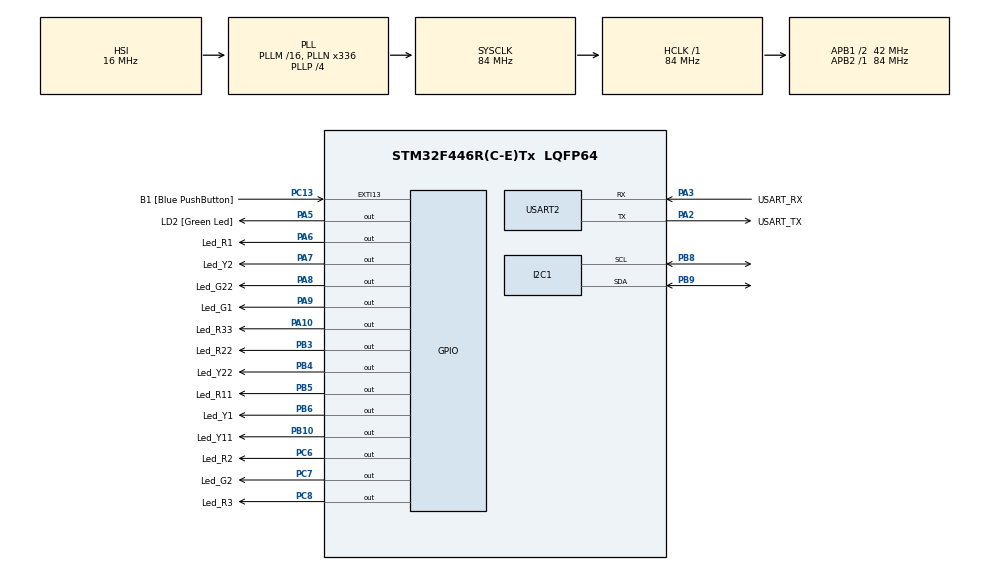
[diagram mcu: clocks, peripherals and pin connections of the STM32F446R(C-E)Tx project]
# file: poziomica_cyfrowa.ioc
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I2C1.I2C_Mode=I2C_Fast
Mcu.Family=STM32F4
Mcu.Name=STM32F446R(C-E)Tx
Mcu.Package=LQFP64
NVIC.PriorityGroup=NVIC_PRIORITYGROUP_0
PA10.GPIO_Label=Led_R33
PA10.Signal=GPIO_Output
PA13.GPIO_Label=TMS
PA13.Mode=Serial_Wire
PA13.Signal=SYS_JTMS-SWDIO
PA14.GPIO_Label=TCK
PA14.Mode=Serial_Wire
PA14.Signal=SYS_JTCK-SWCLK
PA2.GPIO_Label=USART_TX
PA2.Mode=Asynchronous
PA2.Signal=USART2_TX
PA3.GPIO_Label=USART_RX
PA3.Mode=Asynchronous
PA3.Signal=USART2_RX
PA5.GPIO_Label=LD2 [Green Led]
PA5.PinState=GPIO_PIN_RESET
PA5.Signal=GPIO_Output
PA6.GPIO_Label=Led_R1
PA6.PinState=GPIO_PIN_RESET
PA6.Signal=GPIO_Output
PA7.GPIO_Label=Led_Y2
PA7.PinState=GPIO_PIN_RESET
PA7.Signal=GPIO_Output
PA8.GPIO_Label=Led_G22
PA8.Signal=GPIO_Output
PA9.GPIO_Label=Led_G1
PA9.Signal=GPIO_Output
PB10.GPIO_Label=Led_Y11
PB10.Signal=GPIO_Output
PB3.GPIO_Label=Led_R22
PB3.Signal=GPIO_Output
PB4.GPIO_Label=Led_Y22
PB4.Signal=GPIO_Output
PB5.GPIO_Label=Led_R11
PB5.Signal=GPIO_Output
PB6.GPIO_Label=Led_Y1
PB6.Signal=GPIO_Output
PB8.Mode=I2C
PB8.Signal=I2C1_SCL
PB9.Mode=I2C
PB9.Signal=I2C1_SDA
PC13.GPIO_Label=B1 [Blue PushButton]
PC13.GPIO_ModeDefaultEXTI=GPIO_MODE_IT_FALLING
PC13.Signal=GPXTI13
PC14-OSC32_IN.Mode=LSE-External-Oscillator
PC14-OSC32_IN.Signal=RCC_OSC32_IN
PC15-OSC32_OUT.Mode=LSE-External-Oscillator
PC15-OSC32_OUT.Signal=RCC_OSC32_OUT
PC6.GPIO_Label=Led_R2
PC6.Signal=GPIO_Output
PC7.GPIO_Label=Led_G2
PC7.Signal=GPIO_Output
PC8.GPIO_Label=Led_R3
PC8.Signal=GPIO_Output
PH0-OSC_IN.Mode=HSE-External-Oscillator
PH0-OSC_IN.Signal=RCC_OSC_IN
PH1-OSC_OUT.Mode=HSE-External-Oscillator
PH1-OSC_OUT.Signal=RCC_OSC_OUT
ProjectManager.HeapSize=0x200
ProjectManager.StackSize=0x400
ProjectManager.TargetToolchain=STM32CubeIDE
RCC.48MHZClocksFreq_Value=84000000
RCC.AHBFreq_Value=84000000
RCC.APB1CLKDivider=RCC_HCLK_DIV2
RCC.APB1Freq_Value=42000000
RCC.APB1TimFreq_Value=84000000
RCC.APB2Freq_Value=84000000
RCC.APB2TimFreq_Value=84000000
RCC.CortexFreq_Value=84000000
RCC.FLatency-AdvancedSettings=FLASH_LATENCY_2
RCC.HCLKFreq_Value=84000000
RCC.HSE_VALUE=8000000
RCC.HSI_VALUE=16000000
RCC.PLLN=336
RCC.PLLP=RCC_PLLP_DIV4
RCC.SYSCLKFreq_VALUE=84000000
RCC.SYSCLKSource=RCC_SYSCLKSOURCE_PLLCLK
RCC.USBFreq_Value=168000000
RCC.VCOOutputFreq_Value=336000000
USART2.VirtualMode=VM_ASYNC
board=NUCLEO-F446RE

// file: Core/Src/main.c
/* USER CODE BEGIN Header */
/**
  ******************************************************************************
  * @file           : main.c
  * @brief          : Main program body
  ******************************************************************************
  ******************************************************************************
  */
/* USER CODE END Header */
#include "main.h"
#include "i2c.h"
#include "usart.h"
#include "gpio.h"

/* USER CODE BEGIN Includes */
#include <stdio.h>
#include <string.h>
#include <math.h>

#define adxl_address 0x53<<1
/* USER CODE END Includes */

/* USER CODE BEGIN PV */
uint8_t data_rec[6];
uint8_t chipid=0;
int16_t x,y,z;
float xg, yg, zg;
float mediana = 0;
char tx[120];
/* USER CODE END PV */

void SystemClock_Config(void);

/* USER CODE BEGIN 0 */
void adxl_write (uint8_t reg, uint8_t value)
{
	uint8_t data[2];
	data[0] = reg;
	data[1] = value;
	HAL_I2C_Master_Transmit (&hi2c1, adxl_address, data, 2, 100);
}

void adxl_read_values (uint8_t reg)
{
	HAL_I2C_Mem_Read (&hi2c1, adxl_address, reg, 1, (uint8_t *)data_rec, 6, 100);
}

void adxl_read_address (uint8_t reg)
{
	HAL_I2C_Mem_Read (&hi2c1, adxl_address, reg, 1, &chipid, 1, 100);
}

void adxl_init (void)
{
	adxl_read_address (0x00); // read the DEV ID
	HAL_Delay(50);
	adxl_write (0x31, 0x01);  // data_format range= +- 4g
	HAL_Delay(50);
	adxl_write (0x2d, 0x00);  // reset all bits
	HAL_Delay(50);
	adxl_write (0x2d, 0x08);  // power_cntl measure and wake up 8hz
	HAL_Delay(50);
}

void tx_send(char *tx, uint16_t len)
{
	HAL_UART_Transmit(&huart2, (const uint8_t *) tx, len, 1000);
}

void led_check(void)
{
	HAL_GPIO_WritePin(Led_G1_GPIO_Port, Led_G1_Pin, GPIO_PIN_SET);
	HAL_Delay(400);
	HAL_GPIO_WritePin(Led_G2_GPIO_Port, Led_G2_Pin, GPIO_PIN_SET);
	HAL_GPIO_WritePin(Led_G22_GPIO_Port, Led_G22_Pin, GPIO_PIN_SET);
	HAL_Delay(400);
	HAL_GPIO_WritePin(Led_Y1_GPIO_Port, Led_Y1_Pin, GPIO_PIN_SET);
	HAL_GPIO_WritePin(Led_Y11_GPIO_Port, Led_Y11_Pin, GPIO_PIN_SET);
	HAL_Delay(400);
	HAL_GPIO_WritePin(Led_Y2_GPIO_Port, Led_Y2_Pin, GPIO_PIN_SET);
	HAL_GPIO_WritePin(Led_Y22_GPIO_Port, Led_Y22_Pin, GPIO_PIN_SET);
	HAL_Delay(400);
	HAL_GPIO_WritePin(Led_R1_GPIO_Port, Led_R1_Pin, GPIO_PIN_SET);
	HAL_GPIO_WritePin(Led_R11_GPIO_Port, Led_R11_Pin, GPIO_PIN_SET);
	HAL_Delay(400);
	HAL_GPIO_WritePin(Led_R2_GPIO_Port, Led_R2_Pin, GPIO_PIN_SET);
	HAL_GPIO_WritePin(Led_R22_GPIO_Port, Led_R22_Pin, GPIO_PIN_SET);
	HAL_Delay(400);
	HAL_GPIO_WritePin(Led_R3_GPIO_Port, Led_R3_Pin, GPIO_PIN_SET);
	HAL_GPIO_WritePin(Led_R33_GPIO_Port, Led_R33_Pin, GPIO_PIN_SET);

	HAL_Delay(400);
	HAL_GPIO_WritePin(Led_G1_GPIO_Port, Led_G1_Pin, GPIO_PIN_RESET);
	HAL_GPIO_WritePin(Led_G2_GPIO_Port, Led_G2_Pin, GPIO_PIN_RESET);
	HAL_GPIO_WritePin(Led_G22_GPIO_Port, Led_G22_Pin, GPIO_PIN_RESET);
	HAL_GPIO_WritePin(Led_Y1_GPIO_Port, Led_Y1_Pin, GPIO_PIN_RESET);
	HAL_GPIO_WritePin(Led_Y11_GPIO_Port, Led_Y11_Pin, GPIO_PIN_RESET);
	HAL_GPIO_WritePin(Led_Y2_GPIO_Port, Led_Y2_Pin, GPIO_PIN_RESET);
	HAL_GPIO_WritePin(Led_Y22_GPIO_Port, Led_Y22_Pin, GPIO_PIN_RESET);
	HAL_GPIO_WritePin(Led_R1_GPIO_Port, Led_R1_Pin, GPIO_PIN_RESET);
	HAL_GPIO_WritePin(Led_R11_GPIO_Port, Led_R11_Pin, GPIO_PIN_RESET);
	HAL_GPIO_WritePin(Led_R2_GPIO_Port, Led_R2_Pin, GPIO_PIN_RESET);
	HAL_GPIO_WritePin(Led_R22_GPIO_Port, Led_R22_Pin, GPIO_PIN_RESET);
	HAL_GPIO_WritePin(Led_R3_GPIO_Port, Led_R3_Pin, GPIO_PIN_RESET);
	HAL_GPIO_WritePin(Led_R33_GPIO_Port, Led_R33_Pin, GPIO_PIN_RESET);

	HAL_Delay(400);
	HAL_GPIO_WritePin(Led_G1_GPIO_Port, Led_G1_Pin, GPIO_PIN_SET);
	HAL_GPIO_WritePin(Led_G2_GPIO_Port, Led_G2_Pin, GPIO_PIN_SET);
	HAL_GPIO_WritePin(Led_G22_GPIO_Port, Led_G22_Pin, GPIO_PIN_SET);
	HAL_GPIO_WritePin(Led_Y1_GPIO_Port, Led_Y1_Pin, GPIO_PIN_SET);
	HAL_GPIO_WritePin(Led_Y11_GPIO_Port, Led_Y11_Pin, GPIO_PIN_SET);
	HAL_GPIO_WritePin(Led_Y2_GPIO_Port, Led_Y2_Pin, GPIO_PIN_SET);
	HAL_GPIO_WritePin(Led_Y22_GPIO_Port, Led_Y22_Pin, GPIO_PIN_SET);
	HAL_GPIO_WritePin(Led_R1_GPIO_Port, Led_R1_Pin, GPIO_PIN_SET);
	HAL_GPIO_WritePin(Led_R11_GPIO_Port, Led_R11_Pin, GPIO_PIN_SET);
	HAL_GPIO_WritePin(Led_R2_GPIO_Port, Led_R2_Pin, GPIO_PIN_SET);
	HAL_GPIO_WritePin(Led_R22_GPIO_Port, Led_R22_Pin, GPIO_PIN_SET);
	HAL_GPIO_WritePin(Led_R3_GPIO_Port, Led_R3_Pin, GPIO_PIN_SET);
	HAL_GPIO_WritePin(Led_R33_GPIO_Port, Led_R33_Pin, GPIO_PIN_SET);

	HAL_Delay(400);
	HAL_GPIO_WritePin(Led_G1_GPIO_Port, Led_G1_Pin, GPIO_PIN_RESET);
	HAL_GPIO_WritePin(Led_G2_GPIO_Port, Led_G2_Pin, GPIO_PIN_RESET);
	HAL_GPIO_WritePin(Led_G22_GPIO_Port, Led_G22_Pin, GPIO_PIN_RESET);
	HAL_GPIO_WritePin(Led_Y1_GPIO_Port, Led_Y1_Pin, GPIO_PIN_RESET);
	HAL_GPIO_WritePin(Led_Y11_GPIO_Port, Led_Y11_Pin, GPIO_PIN_RESET);
	HAL_GPIO_WritePin(Led_Y2_GPIO_Port, Led_Y2_Pin, GPIO_PIN_RESET);
	HAL_GPIO_WritePin(Led_Y22_GPIO_Port, Led_Y22_Pin, GPIO_PIN_RESET);
	HAL_GPIO_WritePin(Led_R1_GPIO_Port, Led_R1_Pin, GPIO_PIN_RESET);
	HAL_GPIO_WritePin(Led_R11_GPIO_Port, Led_R11_Pin, GPIO_PIN_RESET);
	HAL_GPIO_WritePin(Led_R2_GPIO_Port, Led_R2_Pin, GPIO_PIN_RESET);
	HAL_GPIO_WritePin(Led_R22_GPIO_Port, Led_R22_Pin, GPIO_PIN_RESET);
	HAL_GPIO_WritePin(Led_R3_GPIO_Port, Led_R3_Pin, GPIO_PIN_RESET);
	HAL_GPIO_WritePin(Led_R33_GPIO_Port, Led_R33_Pin, GPIO_PIN_RESET);

	HAL_Delay(200);
	HAL_GPIO_WritePin(Led_G1_GPIO_Port, Led_G1_Pin, GPIO_PIN_SET);
}

void led(float x)
{
	x = fabs(x);
	if (x <= 10)
	{
		HAL_GPIO_WritePin(Led_G1_GPIO_Port, Led_G1_Pin, GPIO_PIN_SET);

		HAL_GPIO_WritePin(Led_G2_GPIO_Port, Led_G2_Pin, GPIO_PIN_RESET);
		HAL_GPIO_WritePin(Led_G22_GPIO_Port, Led_G22_Pin, GPIO_PIN_RESET);
		HAL_GPIO_WritePin(Led_Y1_GPIO_Port, Led_Y1_Pin, GPIO_PIN_RESET);
		HAL_GPIO_WritePin(Led_Y11_GPIO_Port, Led_Y11_Pin, GPIO_PIN_RESET);
		HAL_GPIO_WritePin(Led_Y2_GPIO_Port, Led_Y2_Pin, GPIO_PIN_RESET);
		HAL_GPIO_WritePin(Led_Y22_GPIO_Port, Led_Y22_Pin, GPIO_PIN_RESET);
		HAL_GPIO_WritePin(Led_R1_GPIO_Port, Led_R1_Pin, GPIO_PIN_RESET);
		HAL_GPIO_WritePin(Led_R11_GPIO_Port, Led_R11_Pin, GPIO_PIN_RESET);
		HAL_GPIO_WritePin(Led_R2_GPIO_Port, Led_R2_Pin, GPIO_PIN_RESET);
		HAL_GPIO_WritePin(Led_R22_GPIO_Port, Led_R22_Pin, GPIO_PIN_RESET);
		HAL_GPIO_WritePin(Led_R3_GPIO_Port, Led_R3_Pin, GPIO_PIN_RESET);
		HAL_GPIO_WritePin(Led_R33_GPIO_Port, Led_R33_Pin, GPIO_PIN_RESET);
	}
	else if (x <= 40)
	{
		HAL_GPIO_WritePin(Led_G1_GPIO_Port, Led_G1_Pin, GPIO_PIN_SET);
		HAL_GPIO_WritePin(Led_G2_GPIO_Port, Led_G2_Pin, GPIO_PIN_SET);
		HAL_GPIO_WritePin(Led_G22_GPIO_Port, Led_G22_Pin, GPIO_PIN_SET);

		HAL_GPIO_WritePin(Led_Y1_GPIO_Port, Led_Y1_Pin, GPIO_PIN_RESET);
		HAL_GPIO_WritePin(Led_Y11_GPIO_Port, Led_Y11_Pin, GPIO_PIN_RESET);
		HAL_GPIO_WritePin(Led_Y2_GPIO_Port, Led_Y2_Pin, GPIO_PIN_RESET);
		HAL_GPIO_WritePin(Led_Y22_GPIO_Port, Led_Y22_Pin, GPIO_PIN_RESET);
		HAL_GPIO_WritePin(Led_R1_GPIO_Port, Led_R1_Pin, GPIO_PIN_RESET);
		HAL_GPIO_WritePin(Led_R11_GPIO_Port, Led_R11_Pin, GPIO_PIN_RESET);
		HAL_GPIO_WritePin(Led_R2_GPIO_Port, Led_R2_Pin, GPIO_PIN_RESET);
		HAL_GPIO_WritePin(Led_R22_GPIO_Port, Led_R22_Pin, GPIO_PIN_RESET);
		HAL_GPIO_WritePin(Led_R3_GPIO_Port, Led_R3_Pin, GPIO_PIN_RESET);
		HAL_GPIO_WritePin(Led_R33_GPIO_Port, Led_R33_Pin, GPIO_PIN_RESET);
	}
	else if (x <= 80)
	{
		HAL_GPIO_WritePin(Led_G1_GPIO_Port, Led_G1_Pin, GPIO_PIN_SET);
		HAL_GPIO_WritePin(Led_G2_GPIO_Port, Led_G2_Pin, GPIO_PIN_SET);
		HAL_GPIO_WritePin(Led_G22_GPIO_Port, Led_G22_Pin, GPIO_PIN_SET);
		HAL_GPIO_WritePin(Led_Y1_GPIO_Port, Led_Y1_Pin, GPIO_PIN_SET);
		HAL_GPIO_WritePin(Led_Y11_GPIO_Port, Led_Y11_Pin, GPIO_PIN_SET);

		HAL_GPIO_WritePin(Led_Y2_GPIO_Port, Led_Y2_Pin, GPIO_PIN_RESET);
		HAL_GPIO_WritePin(Led_Y22_GPIO_Port, Led_Y22_Pin, GPIO_PIN_RESET);
		HAL_GPIO_WritePin(Led_R1_GPIO_Port, Led_R1_Pin, GPIO_PIN_RESET);
		HAL_GPIO_WritePin(Led_R11_GPIO_Port, Led_R11_Pin, GPIO_PIN_RESET);
		HAL_GPIO_WritePin(Led_R2_GPIO_Port, Led_R2_Pin, GPIO_PIN_RESET);
		HAL_GPIO_WritePin(Led_R22_GPIO_Port, Led_R22_Pin, GPIO_PIN_RESET);
		HAL_GPIO_WritePin(Led_R3_GPIO_Port, Led_R3_Pin, GPIO_PIN_RESET);
		HAL_GPIO_WritePin(Led_R33_GPIO_Port, Led_R33_Pin, GPIO_PIN_RESET);
	}
	else if (x <= 110)
	{
		HAL_GPIO_WritePin(Led_G1_GPIO_Port, Led_G1_Pin, GPIO_PIN_SET);
		HAL_GPIO_WritePin(Led_G2_GPIO_Port, Led_G2_Pin, GPIO_PIN_SET);
		HAL_GPIO_WritePin(Led_G22_GPIO_Port, Led_G22_Pin, GPIO_PIN_SET);
		HAL_GPIO_WritePin(Led_Y1_GPIO_Port, Led_Y1_Pin, GPIO_PIN_SET);
		HAL_GPIO_WritePin(Led_Y11_GPIO_Port, Led_Y11_Pin, GPIO_PIN_SET);
		HAL_GPIO_WritePin(Led_Y2_GPIO_Port, Led_Y2_Pin, GPIO_PIN_SET);
		HAL_GPIO_WritePin(Led_Y22_GPIO_Port, Led_Y22_Pin, GPIO_PIN_SET);

		HAL_GPIO_WritePin(Led_R1_GPIO_Port, Led_R1_Pin, GPIO_PIN_RESET);
		HAL_GPIO_WritePin(Led_R11_GPIO_Port, Led_R11_Pin, GPIO_PIN_RESET);
		HAL_GPIO_WritePin(Led_R2_GPIO_Port, Led_R2_Pin, GPIO_PIN_RESET);
		HAL_GPIO_WritePin(Led_R22_GPIO_Port, Led_R22_Pin, GPIO_PIN_RESET);
		HAL_GPIO_WritePin(Led_R3_GPIO_Port, Led_R3_Pin, GPIO_PIN_RESET);
		HAL_GPIO_WritePin(Led_R33_GPIO_Port, Led_R33_Pin, GPIO_PIN_RESET);
	}
	else if (x <= 150)
	{
		HAL_GPIO_WritePin(Led_G1_GPIO_Port, Led_G1_Pin, GPIO_PIN_SET);
		HAL_GPIO_WritePin(Led_G2_GPIO_Port, Led_G2_Pin, GPIO_PIN_SET);
		HAL_GPIO_WritePin(Led_G22_GPIO_Port, Led_G22_Pin, GPIO_PIN_SET);
		HAL_GPIO_WritePin(Led_Y1_GPIO_Port, Led_Y1_Pin, GPIO_PIN_SET);
		HAL_GPIO_WritePin(Led_Y11_GPIO_Port, Led_Y11_Pin, GPIO_PIN_SET);
		HAL_GPIO_WritePin(Led_Y2_GPIO_Port, Led_Y2_Pin, GPIO_PIN_SET);
		HAL_GPIO_WritePin(Led_Y22_GPIO_Port, Led_Y22_Pin, GPIO_PIN_SET);
		HAL_GPIO_WritePin(Led_R1_GPIO_Port, Led_R1_Pin, GPIO_PIN_SET);
		HAL_GPIO_WritePin(Led_R11_GPIO_Port, Led_R11_Pin, GPIO_PIN_SET);

		HAL_GPIO_WritePin(Led_R2_GPIO_Port, Led_R2_Pin, GPIO_PIN_RESET);
		HAL_GPIO_WritePin(Led_R22_GPIO_Port, Led_R22_Pin, GPIO_PIN_RESET);
		HAL_GPIO_WritePin(Led_R3_GPIO_Port, Led_R3_Pin, GPIO_PIN_RESET);
		HAL_GPIO_WritePin(Led_R33_GPIO_Port, Led_R33_Pin, GPIO_PIN_RESET);
	}
	else if (x <= 200)
	{
		HAL_GPIO_WritePin(Led_G1_GPIO_Port, Led_G1_Pin, GPIO_PIN_SET);
		HAL_GPIO_WritePin(Led_G2_GPIO_Port, Led_G2_Pin, GPIO_PIN_SET);
		HAL_GPIO_WritePin(Led_G22_GPIO_Port, Led_G22_Pin, GPIO_PIN_SET);
		HAL_GPIO_WritePin(Led_Y1_GPIO_Port, Led_Y1_Pin, GPIO_PIN_SET);
		HAL_GPIO_WritePin(Led_Y11_GPIO_Port, Led_Y11_Pin, GPIO_PIN_SET);
		HAL_GPIO_WritePin(Led_Y2_GPIO_Port, Led_Y2_Pin, GPIO_PIN_SET);
		HAL_GPIO_WritePin(Led_Y22_GPIO_Port, Led_Y22_Pin, GPIO_PIN_SET);
		HAL_GPIO_WritePin(Led_R1_GPIO_Port, Led_R1_Pin, GPIO_PIN_SET);
		HAL_GPIO_WritePin(Led_R11_GPIO_Port, Led_R11_Pin, GPIO_PIN_SET);
		HAL_GPIO_WritePin(Led_R2_GPIO_Port, Led_R2_Pin, GPIO_PIN_SET);
		HAL_GPIO_WritePin(Led_R22_GPIO_Port, Led_R22_Pin, GPIO_PIN_SET);

		HAL_GPIO_WritePin(Led_R3_GPIO_Port, Led_R3_Pin, GPIO_PIN_RESET);
		HAL_GPIO_WritePin(Led_R33_GPIO_Port, Led_R33_Pin, GPIO_PIN_RESET);
	}
	else
	{
		HAL_GPIO_WritePin(Led_G1_GPIO_Port, Led_G1_Pin, GPIO_PIN_SET);
		HAL_GPIO_WritePin(Led_G2_GPIO_Port, Led_G2_Pin, GPIO_PIN_SET);
		HAL_GPIO_WritePin(Led_G22_GPIO_Port, Led_G22_Pin, GPIO_PIN_SET);
		HAL_GPIO_WritePin(Led_Y1_GPIO_Port, Led_Y1_Pin, GPIO_PIN_SET);
		HAL_GPIO_WritePin(Led_Y11_GPIO_Port, Led_Y11_Pin, GPIO_PIN_SET);
		HAL_GPIO_WritePin(Led_Y2_GPIO_Port, Led_Y2_Pin, GPIO_PIN_SET);
		HAL_GPIO_WritePin(Led_Y22_GPIO_Port, Led_Y22_Pin, GPIO_PIN_SET);
		HAL_GPIO_WritePin(Led_R1_GPIO_Port, Led_R1_Pin, GPIO_PIN_SET);
		HAL_GPIO_WritePin(Led_R11_GPIO_Port, Led_R11_Pin, GPIO_PIN_SET);
		HAL_GPIO_WritePin(Led_R2_GPIO_Port, Led_R2_Pin, GPIO_PIN_SET);
		HAL_GPIO_WritePin(Led_R22_GPIO_Port, Led_R22_Pin, GPIO_PIN_SET);
		HAL_GPIO_WritePin(Led_R3_GPIO_Port, Led_R3_Pin, GPIO_PIN_SET);
		HAL_GPIO_WritePin(Led_R33_GPIO_Port, Led_R33_Pin, GPIO_PIN_SET);
	}
}

void adxl_check(int16_t x, int16_t y, int16_t z) {
	if (x == 0 && y == 0 && z == 0) {
		sprintf((char *)tx, "Bład inicjalizacji adxl...\n");
		tx_send(tx, strlen((char const *)tx));
		while (x == 0 && y == 0 && z == 0) {
			adxl_init();
			HAL_Delay(100);
			x = ((data_rec[1] << 8 ) | data_rec[0]);
			y = ((data_rec[3] << 8 ) | data_rec[2]);
			z = ((data_rec[5] << 8 ) | data_rec[4]);
			HAL_Delay(200);
		}
		sprintf((char *)tx, "Inicjalizacja zakonczona!\n");
		tx_send(tx, strlen((char const *)tx));
	}
	else {
		sprintf((char *)tx, "Inicjalizacja zakonczona!\n");
		tx_send(tx, strlen((char const *)tx));
	}
}
/* USER CODE END 0 */

int main(void)
{

  /* MCU Configuration--------------------------------------------------------*/

  /* Reset of all peripherals, Initializes the Flash interface and the Systick. */
  HAL_Init();
  HAL_Delay(5000);

  /* Configure the system clock */
  SystemClock_Config();
  HAL_Delay(10);

  /* Initialize all configured peripherals */
  MX_GPIO_Init();
  HAL_Delay(10);
  MX_USART2_UART_Init();
  HAL_Delay(10);
  MX_I2C1_Init();
  HAL_Delay(10);
  /* USER CODE BEGIN 2 */
  adxl_init(); // initialize adxl
  HAL_Delay(10);
  led_check();
  HAL_Delay(10);
  adxl_read_values (0x32);
  x = ((data_rec[1] << 8 ) | data_rec[0]);
  y = ((data_rec[3] << 8 ) | data_rec[2]);
  z = ((data_rec[5] << 8 ) | data_rec[4]);
  adxl_check(x, y, z);
  HAL_Delay(2000);
  /* USER CODE END 2 */

  /* Infinite loop */
  /* USER CODE BEGIN WHILE */
  while (1)
  {
	float xm[81] = {};
	float xms[81] = {};
	int a = 0, count = 1;

	for(int i=0;i<81;i++) {
	adxl_read_values (0x32);
	x = ((data_rec[1] << 8 ) | data_rec[0]);
	y = ((data_rec[3] << 8 ) | data_rec[2]);
	z = ((data_rec[5] << 8 ) | data_rec[4]);

	xg = x * 7.8;
	yg = y * 7.8;
	zg = z * 7.8;

	if(count%10==0) {
	sprintf((char *)tx, "a_x = %6.2f [mg]\ta_y = %6.2f[mg]\ta_z = %6.2f [mg]\tx_mediana = %6.2f [mg]\n", xg, yg, zg, mediana);
	tx_send(tx, strlen((char const *)tx));
	sprintf((char *)tx, "------------------------------------------------------------------------------------------------\n");
	tx_send(tx, strlen((char const *)tx));
	count = 0 ;
	}
	count++;
	xm[i] = fabs(xg);
	}

	for(int j=0;j<81;j++) {
		for(int k=0;k<81;k++) {
			if(xms[j] < xm[k]) {
				xms[j] = xm[k];
				a=k;
			}
		}
	xm[a] = 0;
	}
	mediana = xms[40];
	led(mediana);											//wprowadzam wartość mediany do funckcji
    /* USER CODE END WHILE */

  }
}

void SystemClock_Config(void)
{
  RCC_OscInitTypeDef RCC_OscInitStruct = {0};
  RCC_ClkInitTypeDef RCC_ClkInitStruct = {0};

  /** Configure the main internal regulator output voltage
  */
  __HAL_RCC_PWR_CLK_ENABLE();
  __HAL_PWR_VOLTAGESCALING_CONFIG(PWR_REGULATOR_VOLTAGE_SCALE3);

  /** Initializes the RCC Oscillators according to the specified parameters
  * in the RCC_OscInitTypeDef structure.
  */
  RCC_OscInitStruct.OscillatorType = RCC_OSCILLATORTYPE_HSI;
  RCC_OscInitStruct.HSIState = RCC_HSI_ON;
  RCC_OscInitStruct.HSICalibrationValue = RCC_HSICALIBRATION_DEFAULT;
  RCC_OscInitStruct.PLL.PLLState = RCC_PLL_ON;
  RCC_OscInitStruct.PLL.PLLSource = RCC_PLLSOURCE_HSI;
  RCC_OscInitStruct.PLL.PLLM = 16;
  RCC_OscInitStruct.PLL.PLLN = 336;
  RCC_OscInitStruct.PLL.PLLP = RCC_PLLP_DIV4;
  RCC_OscInitStruct.PLL.PLLQ = 2;
  RCC_OscInitStruct.PLL.PLLR = 2;
  if (HAL_RCC_OscConfig(&RCC_OscInitStruct) != HAL_OK)
  {
    Error_Handler();
  }

  /** Initializes the CPU, AHB and APB buses clocks
  */
  RCC_ClkInitStruct.ClockType = RCC_CLOCKTYPE_HCLK|RCC_CLOCKTYPE_SYSCLK
                              |RCC_CLOCKTYPE_PCLK1|RCC_CLOCKTYPE_PCLK2;
  RCC_ClkInitStruct.SYSCLKSource = RCC_SYSCLKSOURCE_PLLCLK;
  RCC_ClkInitStruct.AHBCLKDivider = RCC_SYSCLK_DIV1;
  RCC_ClkInitStruct.APB1CLKDivider = RCC_HCLK_DIV2;
  RCC_ClkInitStruct.APB2CLKDivider = RCC_HCLK_DIV1;

  if (HAL_RCC_ClockConfig(&RCC_ClkInitStruct, FLASH_LATENCY_2) != HAL_OK)
  {
    Error_Handler();
  }
}

void Error_Handler(void)
{
  __disable_irq();
  while (1)
  {
  }
}
